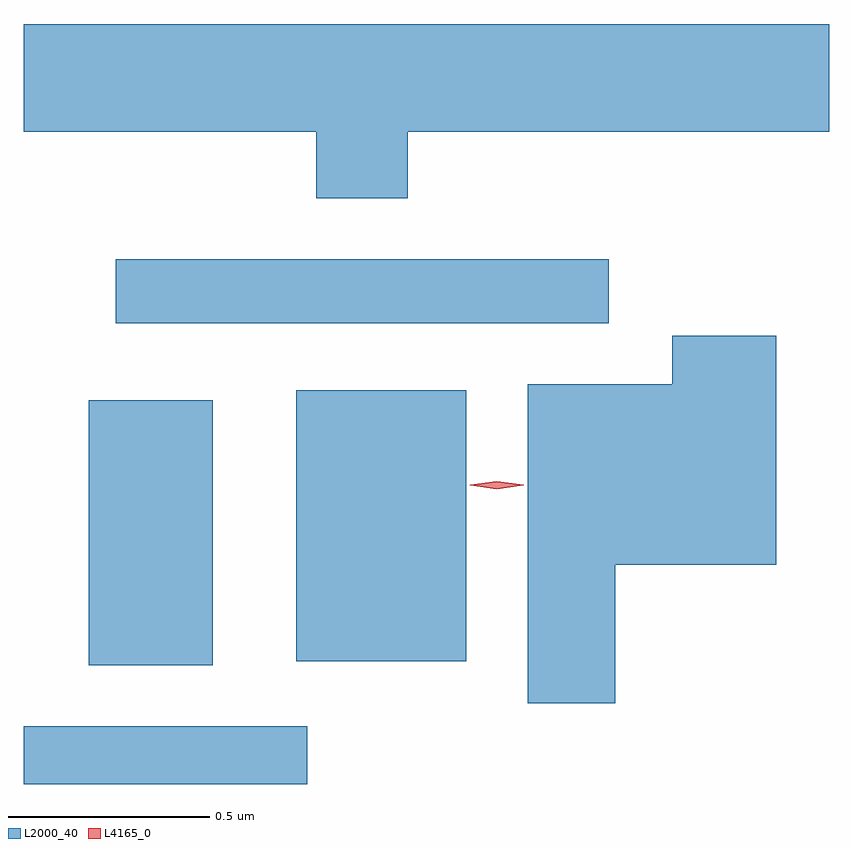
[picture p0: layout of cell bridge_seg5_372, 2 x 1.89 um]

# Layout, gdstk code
import gdstk
lib = gdstk.Library(unit=1e-6, precision=1e-09)
def R(c, l, rs):  # rectangles x0, y0, x1, y1
    for r in rs: c.add(gdstk.rectangle(r[:2], r[2:], *l))
def P(c, l, *ps):  # polygons
    for p in ps: c.add(gdstk.Polygon(p, *l))
L2000_40 = (2000, 40)
L4165_0 = (4165, 0)

bridge_seg5_372 = lib.new_cell('bridge_seg5_372')
R(bridge_seg5_372, L2000_40, [(785.675,1457.396,786.379,1457.539), (785.836,1457.691,786.144,1458.349), (786.351,1457.701,786.774,1458.374), (785.903,1458.541,787.128,1458.699)])
P(bridge_seg5_372, L2000_40, [(786.629,1459.016),(787.675,1459.016),(787.675,1459.284),(785.675,1459.284),(785.675,1459.016),(786.401,1459.016),(786.401,1458.851),(786.629,1458.851)],
  [(787.144,1457.941),(787.544,1457.941),(787.544,1458.509),(787.286,1458.509),(787.286,1458.389),(786.926,1458.389),(786.926,1457.596),(787.144,1457.596)])
P(bridge_seg5_372, L4165_0, [(786.85,1458.128),(786.784,1458.138),(786.783,1458.138),(786.784,1458.139),(786.85,1458.148),(786.916,1458.139),(786.917,1458.138),(786.916,1458.138)])

lib.write_gds('bridge_seg5_372.gds')
